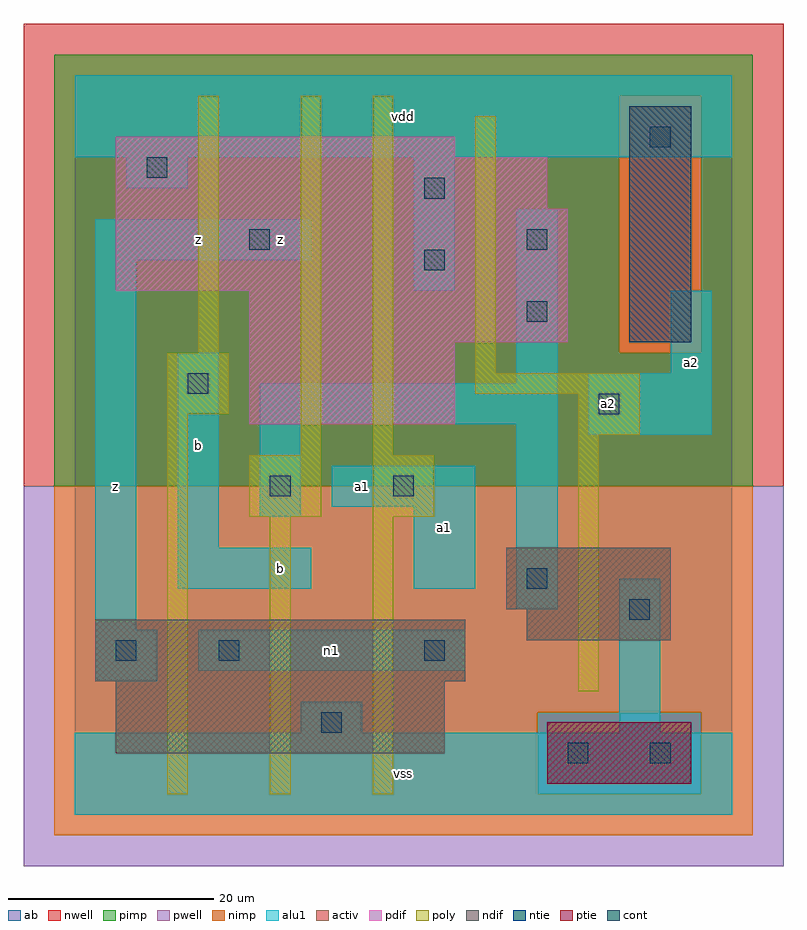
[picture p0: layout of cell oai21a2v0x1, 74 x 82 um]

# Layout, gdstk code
import gdstk
lib = gdstk.Library(unit=1e-6, precision=1e-09)
def R(c, l, rs):  # rectangles x0, y0, x1, y1
    for r in rs: c.add(gdstk.rectangle(r[:2], r[2:], *l))
ndif = (3, 0)
pdif = (4, 0)
ntie = (5, 0)
ptie = (6, 0)
cont = (25, 0)
pwell = (41, 0)
nwell = (42, 0)
activ = (43, 0)
pimp = (44, 0)
nimp = (45, 0)
poly = (46, 0)
alu1 = (49, 0)
ab = (63, 0)

oai21a2v0x1 = lib.new_cell('oai21a2v0x1')
R(oai21a2v0x1, ndif, [(4,6,36,13), (2,13,38,19), (44,17,58,20), (42,20,58,26)])
R(oai21a2v0x1, pdif, [(17,38,37,46), (17,46,48,51), (4,51,48,59), (4,59,46,64), (4,64,37,66)])
R(oai21a2v0x1, ntie, [(54,46,60,69)])
R(oai21a2v0x1, ptie, [(46,3,60,9)])
R(oai21a2v0x1, cont, [(48,5,50,7), (56,5,58,7), (24,8,26,10), (4,15,6,17), (14,15,16,17), (34,15,36,17), (54,19,56,21), (44,22,46,24), (19,31,21,33), (31,31,33,33), (51,39,53,41), (11,41,13,43), (44,48,46,50), (34,53,36,55), (17,55,19,57), (44,55,46,57), (34,60,36,62), (7,62,9,64), (56,65,58,67)])
R(oai21a2v0x1, pwell, [(-5,-5,69,32)])
R(oai21a2v0x1, nwell, [(-5,32,69,77)])
R(oai21a2v0x1, activ, [(46,3,60,9), (4,6,36,13), (2,13,38,19), (44,17,58,20), (42,20,58,26), (17,38,37,46), (17,46,48,51), (54,46,60,69), (4,51,48,59), (4,59,46,64), (4,64,37,66)])
R(oai21a2v0x1, pimp, [(45,2,61,10), (-2,32,66,45), (-2,45,53,70), (61,45,66,70), (-2,70,66,74)])
R(oai21a2v0x1, nimp, [(-2,-2,66,2), (-2,2,45,10), (61,2,66,10), (-2,10,66,32), (53,45,61,70)])
R(oai21a2v0x1, poly, [(9,2,11,39), (19,2,21,29), (29,2,31,29), (49,12,51,37), (17,29,24,35), (29,29,35,35), (22,35,24,70), (29,35,31,70), (49,37,55,41), (9,39,15,45), (39,41,55,43), (39,43,41,68), (12,45,14,70)])
R(oai21a2v0x1, alu1, [(0,0,64,8), (22,8,28,11), (53,8,57,23), (2,13,8,18), (12,14,38,18), (2,18,6,54), (43,20,47,38), (10,22,23,26), (33,22,39,30), (10,26,14,45), (18,29,22,38), (25,30,39,34), (50,37,62,43), (18,38,47,42), (43,42,47,59), (58,43,62,51), (33,51,37,64), (2,54,23,58), (5,61,11,64), (0,64,64,72)])
R(oai21a2v0x1, ab, [(0,0,64,72)])
oai21a2v0x1.add(gdstk.Label('n1', (25,16), layer=49, texttype=0))
oai21a2v0x1.add(gdstk.Label('z', (4,32), layer=49, texttype=0))
oai21a2v0x1.add(gdstk.Label('b', (12,36), layer=49, texttype=0))
oai21a2v0x1.add(gdstk.Label('z', (12,56), layer=49, texttype=0))
oai21a2v0x1.add(gdstk.Label('b', (20,24), layer=49, texttype=0))
oai21a2v0x1.add(gdstk.Label('a1', (28,32), layer=49, texttype=0))
oai21a2v0x1.add(gdstk.Label('z', (20,56), layer=49, texttype=0))
oai21a2v0x1.add(gdstk.Label('vss', (32,4), layer=49, texttype=0))
oai21a2v0x1.add(gdstk.Label('a1', (36,28), layer=49, texttype=0))
oai21a2v0x1.add(gdstk.Label('vdd', (32,68), layer=49, texttype=0))
oai21a2v0x1.add(gdstk.Label('a2', (52,40), layer=49, texttype=0))
oai21a2v0x1.add(gdstk.Label('a2', (60,44), layer=49, texttype=0))

lib.write_gds('oai21a2v0x1.gds')
